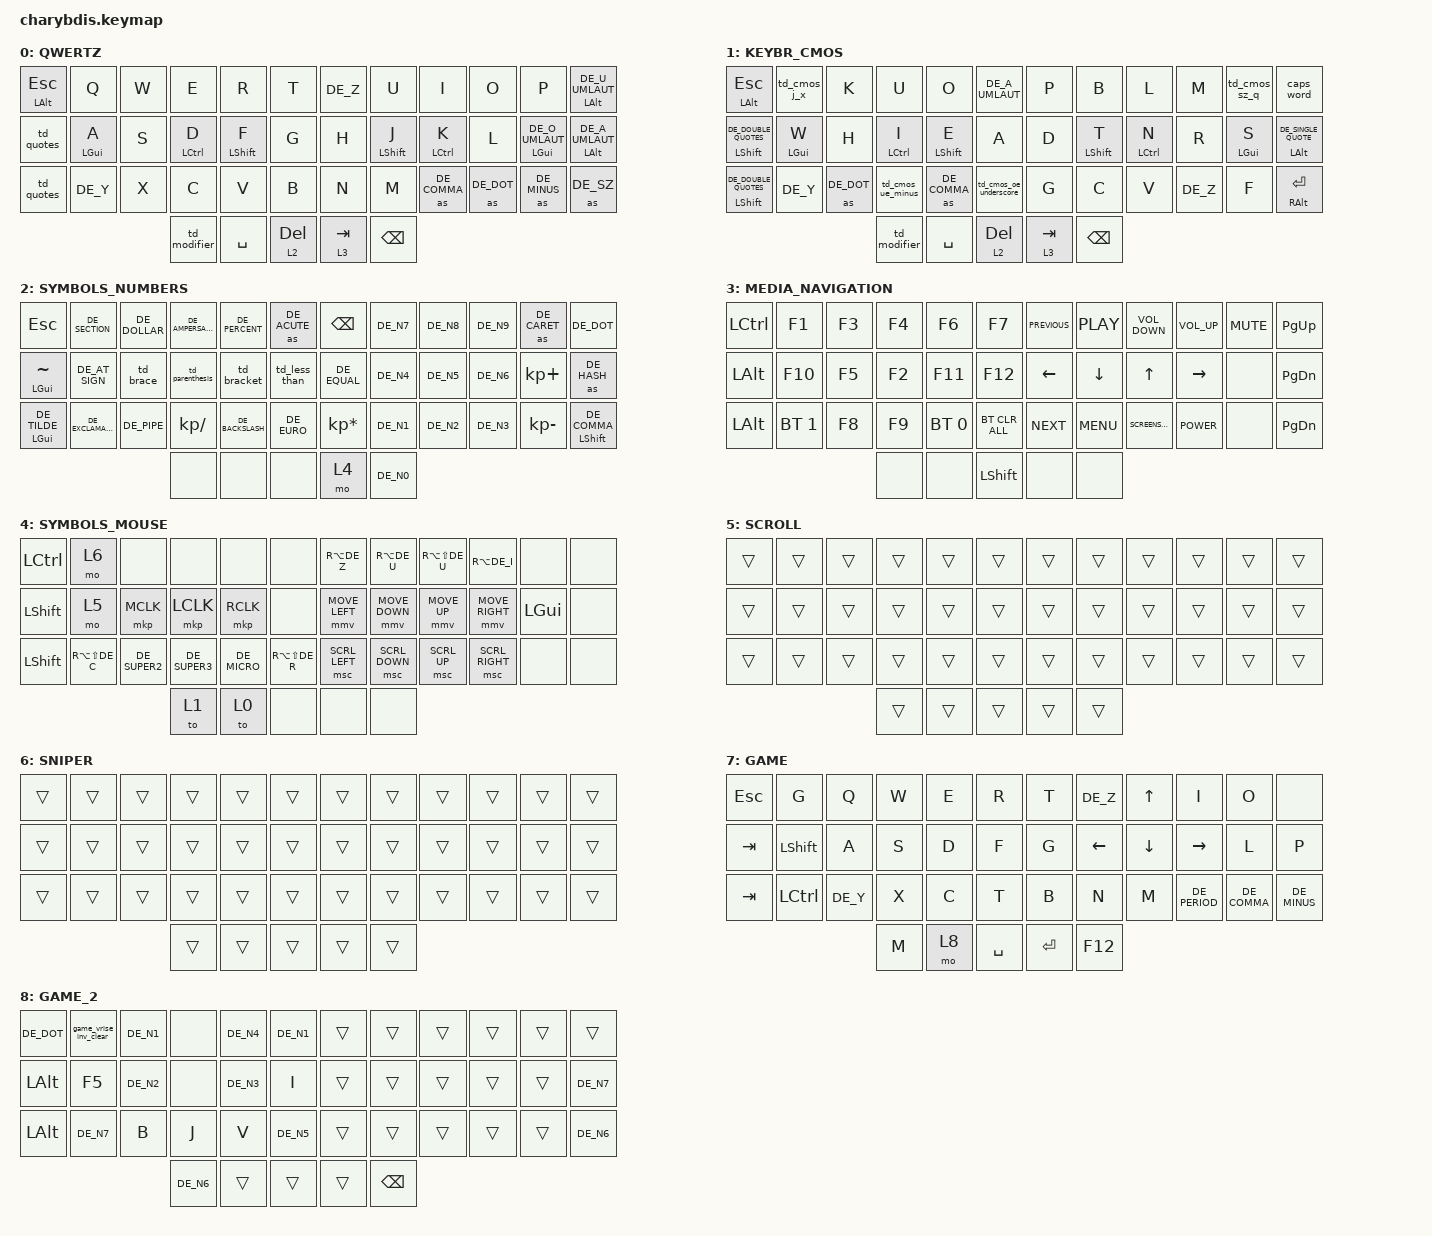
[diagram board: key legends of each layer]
#include "keys_de.h"
#include <behaviors/mouse_keys.dtsi>
#include <dt-bindings/zmk/mouse.h>
#include <behaviors.dtsi>
#include <dt-bindings/zmk/bt.h>
#include <dt-bindings/zmk/keys.h>

// https://github.com/urob/zmk-config#timeless-homerow-mods

#define PRIOR_IDLE 125
#define QUICK_TAP_MS 200
#define TAPPING_TERM 225
#define HRM_TAP_TERM 275
#define TAP_DANCE_MS 300

&caps_word { continue-list = <DELETE DEL BACKSPACE MINUS KP_MINUS SLASH QUESTION SEMICOLON LEFT_BRACKET RIGHT_BRACKET LEFT_BRACE RIGHT_BRACE SINGLE_QUOTE DE_A_UMLAUT DE_O_UMLAUT DE_U_UMLAUT>; };

// &lt &mt from https://github.com/urob/zmk-config/blob/main/config/base.keymap
// hold-preferred, balanced, tap-preferred, tap-unless-interrupted

&lt {
    flavor = "hold-preferred";
    tapping-term-ms = <TAPPING_TERM>;
    quick-tap-ms = <QUICK_TAP_MS>;
};

&mt {
    flavor = "hold-preferred";
    tapping-term-ms = <TAPPING_TERM>;
    quick-tap-ms = <QUICK_TAP_MS>;
};

/ {
    behaviors {
        ht_as: autoshift_hold_tap {
            compatible = "zmk,behavior-hold-tap";
            label = "AUTOSHIFT_HOLD_TAP";
            #binding-cells = <2>;
            tapping-term-ms = <QUICK_TAP_MS>;
            bindings = <&shifted>, <&kp>;
        };

        hml: home_row_mod_left {
            compatible = "zmk,behavior-hold-tap";
            label = "HML";
            bindings = <&kp>, <&kp>;

            #binding-cells = <2>;
            tapping-term-ms = <HRM_TAP_TERM>;
            quick-tap-ms = <QUICK_TAP_MS>;
            require-prior-idle-ms = <PRIOR_IDLE>;
            flavor = "tap-unless-interrupted";
            hold-trigger-on-release;
            hold-trigger-key-positions = <5 6 7 8 9 17 18 19 20 21 28 29 30 31 32 33 22 10 0 1 2 3 4 15 12 23 24 25 26 27 34 35 11>;
        };

        hmr: home_row_mod_right {
            compatible = "zmk,behavior-hold-tap";
            label = "HMR";
            bindings = <&kp>, <&kp>;

            #binding-cells = <2>;
            tapping-term-ms = <HRM_TAP_TERM>;
            quick-tap-ms = <QUICK_TAP_MS>;
            require-prior-idle-ms = <PRIOR_IDLE>;
            flavor = "tap-unless-interrupted";
            hold-trigger-on-release;
            hold-trigger-key-positions = <0 1 2 3 4 10 11 12 13 14 15 23 24 25 26 27 34 35 5 6 7 8 9 16 21 28 29 30 31 32 33 17 18>;
        };

        td_modifier: td_modifier {
            compatible = "zmk,behavior-tap-dance";
            label = "TD_MODIFIER";
            #binding-cells = <0>;
            tapping-term-ms = <TAP_DANCE_MS>;
            bindings = <&kp LGUI>, <&kp LCTRL>, <&kp LSHIFT>;
        };

        td_quotes: td_quotes {
            compatible = "zmk,behavior-tap-dance";
            label = "TD_QUOTES";
            #binding-cells = <0>;
            bindings = <&kp DE_DOUBLE_QUOTES>, <&kp DE_SINGLE_QUOTE>;

            tapping-term-ms = <TAP_DANCE_MS>;
        };

        td_parenthesis: td_parenthesis {
            compatible = "zmk,behavior-tap-dance";
            label = "TD_PARENTHESIS";
            #binding-cells = <0>;
            tapping-term-ms = <TAP_DANCE_MS>;
            bindings = <&kp DE_LEFT_PARENTHESIS>, <&kp DE_RIGHT_PARENTHESIS>;
        };

        td_bracket: td_bracket {
            compatible = "zmk,behavior-tap-dance";
            label = "TD_BRACKET";
            #binding-cells = <0>;
            tapping-term-ms = <TAP_DANCE_MS>;
            bindings = <&kp DE_LEFT_BRACKET>, <&kp DE_RIGHT_BRACKET>;
        };

        td_brace: td_brace {
            compatible = "zmk,behavior-tap-dance";
            label = "TD_BRACE";
            #binding-cells = <0>;
            tapping-term-ms = <TAP_DANCE_MS>;
            bindings = <&kp DE_LEFT_BRACE>, <&kp DE_RIGHT_BRACE>;
        };

        td_less_than: td_less_than {
            compatible = "zmk,behavior-tap-dance";
            label = "TD_LESS_THAN";
            #binding-cells = <0>;
            tapping-term-ms = <TAP_DANCE_MS>;
            bindings = <&kp DE_LESS_THAN>, <&kp DE_GREATER_THAN>;
        };

        td_cmos_j_x: td_cmos_j_x {
            compatible = "zmk,behavior-tap-dance";
            label = "TD_CMOS_J_X";
            #binding-cells = <0>;
            tapping-term-ms = <TAP_DANCE_MS>;
            bindings = <&kp J>, <&kp X>;
        };

        td_cmos_sz_q: td_cmos_sz_q {
            compatible = "zmk,behavior-tap-dance";
            label = "TD_CMOS_SZ_Q";
            #binding-cells = <0>;
            tapping-term-ms = <TAP_DANCE_MS>;
            bindings = <&kp DE_SZ>, <&kp Q>;
        };

        td_cmos_ue_minus: td_cmos_umlaut_u_minus {
            compatible = "zmk,behavior-tap-dance";
            label = "TD_CMOS_UE_MINUS";
            #binding-cells = <0>;
            tapping-term-ms = <TAP_DANCE_MS>;
            bindings = <&kp DE_U_UMLAUT>, <&kp KP_MINUS>;
        };

        td_cmos_oe_underscore: td_cmos_umlaut_o_underscore {
            compatible = "zmk,behavior-tap-dance";
            label = "TD_CMOS_OE_UNDERSCORE";
            #binding-cells = <0>;
            tapping-term-ms = <TAP_DANCE_MS>;
            bindings = <&kp DE_O_UMLAUT>, <&kp DE_UNDERSCORE>;
        };
    };

    combos {
        compatible = "zmk,combos";

        select_all {
            bindings = <&kp LC(A)>;
            key-positions = <25 26>;
            layers = <0 1>;
        };

        copy {
            bindings = <&kp LC(C)>;
            key-positions = <26 27>;
            layers = <0 1>;
        };

        paste {
            bindings = <&kp LC(V)>;
            key-positions = <27 28>;
            layers = <0 1>;
        };

        cut {
            bindings = <&kp LC(X)>;
            key-positions = <28 29>;
            layers = <0 1>;
        };

        //        umlaut_a {
        //            bindings = <&as DE_A_UMLAUT>;
        //            key-positions = <31 32>;
        //            layers = <0>;
        //        };
        //
        //        umlaut_o {
        //            bindings = <&as DE_O_UMLAUT>;
        //            key-positions = <32 33>;
        //            layers = <0>;
        //        };
        //
        //        umlaut_u {
        //            bindings = <&as DE_U_UMLAUT>;
        //            key-positions = <31 33>;
        //            layers = <0>;
        //        };
        //
        //        de_sz {
        //            bindings = <&as DE_SZ>;
        //            key-positions = <21 22>;
        //        };

        caps_word {
            bindings = <&caps_word>;
            key-positions = <2 4>;
            layers = <0 1>;
        };

        return {
            bindings = <&kp RETURN>;
            key-positions = <38 39>;
            layers = <0 1>;
        };

        line_start {
            bindings = <&kp HOME>;
            key-positions = <14 15 16>;
            layers = <0 1>;
        };

        line_end {
            bindings = <&kp END>;
            key-positions = <19 20 21>;
            layers = <0 1>;
        };

        rside_reset {
            bindings = <&bootloader>;
            key-positions = <7 9>;
            layers = <3>;
        };

        lside_reset {
            bindings = <&bootloader>;
            key-positions = <2 4>;
            layers = <2>;
        };

        to_base {
            bindings = <&to 0>;
            key-positions = <37 38>;
            layers = <1 2 3 4 7 8 5 6>;
        };

        to_cmos {
            bindings = <&to 1>;
            key-positions = <12 24>;
            layers = <2>;
        };

        to_game {
            bindings = <&to 7>;
            key-positions = <12 24>;
            layers = <0 1>;
        };
    };

    macros {
        game_vrise_inv_clear: game_vrise_inv_clear {
            compatible = "zmk,behavior-macro";
            label = "GAME_VRISE_INV_CLEAR";
            #binding-cells = <0>;
            wait-ms = <50>;
            tap-ms = <50>;
            bindings = <&kp R &mkp RCLK &kp E &kp R &mkp RCLK &kp E &kp R &mkp RCLK &kp E &kp R &mkp RCLK &kp E &kp R &mkp RCLK &kp E &kp R &mkp RCLK &kp E &kp R &mkp RCLK &kp E &kp R &mkp RCLK &kp E &kp R &mkp RCLK &kp E &kp R &mkp RCLK &kp E>;
        };

        shifted: macro_shifted_kp {
            #binding-cells = <1>;
            label = "MACRO_SHIFTED_KP";
            compatible = "zmk,behavior-macro-one-param";
            bindings =
                <&macro_press>,
                <&kp LSHFT &macro_param_1to1>,
                <&macro_tap>,
                <&kp MACRO_PLACEHOLDER>,
                <&macro_release>,
                <&kp LSHFT>;
        };

        as: autoshift {
            compatible = "zmk,behavior-macro-one-param";
            #binding-cells = <1>;
            label = "AUTOSHIFT_KP";
            bindings =
                <&macro_press>,
                <&macro_param_1to1 &macro_param_1to2 &ht_as MACRO_PLACEHOLDER MACRO_PLACEHOLDER>,
                <&macro_pause_for_release>,
                <&macro_release>,
                <&macro_param_1to1 &macro_param_1to2 &ht_as MACRO_PLACEHOLDER MACRO_PLACEHOLDER>;
        };
    };

    keymap {
        compatible = "zmk,keymap";

        QWERTZ {
            // | SW1  | SW2  | SW3  | SW4  | SW5  | SW6  |  | SW27 | SW26 | SW25 | SW24 | SW23 | SW22 |
            // | SW7  | SW8  | SW9  | SW10 | SW11 | SW12 |  | SW33 | SW32 | SW31 | SW30 | SW29 | SW34 |
            // | SW13 | SW14 | SW15 | SW16 | SW17 | SW18 |  | SW39 | SW38 | SW37 | SW36 | SW35 | SW28 |
            //                      | SW19 | SW20 | SW21 |  | SW41 | SW40 |

            bindings = <
&mt LEFT_ALT ESC  &kp Q        &kp W  &kp E                &kp R              &kp T           &kp DE_Z   &kp U              &kp I                &kp O       &kp P                  &mt LEFT_ALT DE_U_UMLAUT
&td_quotes        &hml LGUI A  &kp S  &hml LEFT_CONTROL D  &hml LEFT_SHIFT F  &kp G           &kp H      &hmr LEFT_SHIFT J  &hmr LEFT_CONTROL K  &kp L       &hmr LGUI DE_O_UMLAUT  &mt LEFT_ALT DE_A_UMLAUT
&td_quotes        &kp DE_Y     &kp X  &kp C                &kp V              &kp B           &kp N      &kp M              &as DE_COMMA         &as DE_DOT  &as DE_MINUS           &as DE_SZ
                                      &td_modifier         &kp SPACE          &lt 2 DELETE    &lt 3 TAB  &kp BACKSPACE
            >;
        };

        KEYBR_CMOS {
            bindings = <
&mt LEFT_ALT ESCAPE              &td_cmos_j_x     &kp K       &kp U              &kp O          &kp DE_A_UMLAUT           &kp P      &kp B              &kp L         &kp M     &td_cmos_sz_q    &caps_word
&mt LEFT_SHIFT DE_DOUBLE_QUOTES  &hml LEFT_GUI W  &kp H       &hml LCTRL I       &hml LSHIFT E  &kp A                     &kp D      &hmr LEFT_SHIFT T  &hmr LCTRL N  &kp R     &hmr LEFT_GUI S  &mt LEFT_ALT DE_SINGLE_QUOTE
&mt LEFT_SHIFT DE_DOUBLE_QUOTES  &kp DE_Y         &as DE_DOT  &td_cmos_ue_minus  &as DE_COMMA   &td_cmos_oe_underscore    &kp G      &kp C              &kp V         &kp DE_Z  &kp F            &mt RALT RETURN
                                                              &td_modifier       &kp SPACE      &lt 2 DELETE              &lt 3 TAB  &kp BACKSPACE
            >;
        };

        SYMBOLS_NUMBERS {
            bindings = <
&kp ESCAPE             &kp DE_SECTION      &kp DE_DOLLAR  &kp DE_AMPERSAND  &kp DE_PERCENT    &as DE_ACUTE     &kp BACKSPACE    &kp DE_N7  &kp DE_N8  &kp DE_N9  &as DE_CARET  &kp DE_DOT
&mt LEFT_GUI TILDE     &kp DE_AT_SIGN      &td_brace      &td_parenthesis   &td_bracket       &td_less_than    &kp DE_EQUAL     &kp DE_N4  &kp DE_N5  &kp DE_N6  &kp KP_PLUS   &as DE_HASH
&mt LEFT_GUI DE_TILDE  &kp DE_EXCLAMATION  &kp DE_PIPE    &kp KP_SLASH      &kp DE_BACKSLASH  &kp DE_EURO      &kp KP_ASTERISK  &kp DE_N1  &kp DE_N2  &kp DE_N3  &kp KP_MINUS  &mt LEFT_SHIFT DE_COMMA
                                                          &none             &none             &none            &mo 4            &kp DE_N0
            >;
        };

        MEDIA_NAVIGATION {
            bindings = <
&kp LEFT_CONTROL  &kp F1        &kp F3  &kp F4  &kp F6        &kp F7            &kp K_PREVIOUS  &kp C_PLAY  &kp C_VOLUME_DOWN  &kp C_VOLUME_UP  &kp K_MUTE  &kp PAGE_UP
&kp LEFT_ALT      &kp F10       &kp F5  &kp F2  &kp F11       &kp F12           &kp LEFT_ARROW  &kp DOWN    &kp UP_ARROW       &kp RIGHT        &none       &kp PAGE_DOWN
&kp LEFT_ALT      &bt BT_SEL 1  &kp F8  &kp F9  &bt BT_SEL 0  &bt BT_CLR_ALL    &kp K_NEXT      &kp K_MENU  &kp K_SCREENSAVER  &kp K_POWER      &none       &kp PAGE_DOWN
                                        &none   &none         &kp LEFT_SHIFT    &none           &none
            >;
        };

        SYMBOLS_MOUSE {
            bindings = <
&kp LCTRL       &mo 6             &none          &none          &none         &none               &kp RA(DE_Z)    &kp RA(DE_U)    &kp RA(LS(DE_U))  &kp RA(DE_I)     &none         &none
&kp LEFT_SHIFT  &mo 5             &mkp MCLK      &mkp LCLK      &mkp RCLK     &none               &mmv MOVE_LEFT  &mmv MOVE_DOWN  &mmv MOVE_UP      &mmv MOVE_RIGHT  &kp LEFT_GUI  &none
&kp LSHFT       &kp RA(LS(DE_C))  &kp DE_SUPER2  &kp DE_SUPER3  &kp DE_MICRO  &kp RA(LS(DE_R))    &msc SCRL_LEFT  &msc SCRL_DOWN  &msc SCRL_UP      &msc SCRL_RIGHT  &none         &none
                                                 &to 1          &to 0         &none               &none           &none
            >;
        };

        SCROLL {
            bindings = <
&trans  &trans  &trans  &trans  &trans  &trans    &trans  &trans  &trans  &trans  &trans  &trans
&trans  &trans  &trans  &trans  &trans  &trans    &trans  &trans  &trans  &trans  &trans  &trans
&trans  &trans  &trans  &trans  &trans  &trans    &trans  &trans  &trans  &trans  &trans  &trans
                        &trans  &trans  &trans    &trans  &trans
            >;
        };

        SNIPER {
            bindings = <
&trans  &trans  &trans  &trans  &trans  &trans    &trans  &trans  &trans  &trans  &trans  &trans
&trans  &trans  &trans  &trans  &trans  &trans    &trans  &trans  &trans  &trans  &trans  &trans
&trans  &trans  &trans  &trans  &trans  &trans    &trans  &trans  &trans  &trans  &trans  &trans
                        &trans  &trans  &trans    &trans  &trans
            >;
        };

        GAME {
            bindings = <
&kp ESC  &kp G           &kp Q     &kp W  &kp E  &kp R        &kp T       &kp DE_Z  &kp UP          &kp I          &kp O         &none
&kp TAB  &kp LEFT_SHIFT  &kp A     &kp S  &kp D  &kp F        &kp G       &kp LEFT  &kp DOWN_ARROW  &kp RIGHT      &kp L         &kp P
&kp TAB  &kp LCTRL       &kp DE_Y  &kp X  &kp C  &kp T        &kp B       &kp N     &kp M           &kp DE_PERIOD  &kp DE_COMMA  &kp DE_MINUS
                                   &kp M  &mo 8  &kp SPACE    &kp RETURN  &kp F12
            >;
        };

        GAME_2 {
            bindings = <
&kp DE_DOT    &game_vrise_inv_clear  &kp DE_N1  &none      &kp DE_N4  &kp DE_N1    &trans  &trans         &trans  &trans  &trans  &trans
&kp LEFT_ALT  &kp F5                 &kp DE_N2  &none      &kp DE_N3  &kp I        &trans  &trans         &trans  &trans  &trans  &kp DE_N7
&kp LEFT_ALT  &kp DE_N7              &kp B      &kp J      &kp V      &kp DE_N5    &trans  &trans         &trans  &trans  &trans  &kp DE_N6
                                                &kp DE_N6  &trans     &trans       &trans  &kp BACKSPACE
            >;
        };
    };
};
